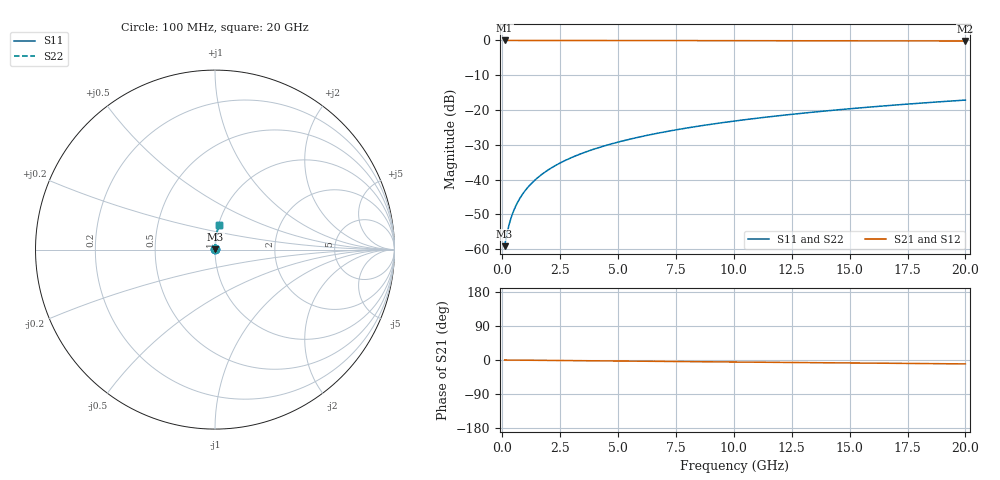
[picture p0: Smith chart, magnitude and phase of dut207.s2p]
! Touchstone file exported from HFSS 2024.1.0
!  File:  C:/UserFiles/LocalFiles/RDL_TSV_Batchsim/temp_RDL_top_207_1778687212.aedt
!  Generated:  11:49:06 PM May 13, 2026
!  Design:  RDL_top
!  Project:  temp_RDL_top_207_1778687212
!  Setup:  Setup1
!  Solution:  Sweep
! Variables:
!  dtsv = 10.80580581um
!  hbump = 3um
!  htsv = 96.49um
!  ldown = 100um
!  lrdl = 105.42um
!  p = 40
!  p1 = 42.33um
!  rhole = 1um
!  t = 450um
!  tdown = 3.915915916um
!  trdl = 4.96um
!  wdown = 15.38538539um
!  wrdl = 10.29um
# GHz S MA R 50.000000
! Terminal data exported
! Port[1] = Box2_T1
! Port[2] = Box2_T2
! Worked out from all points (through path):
!   200 points, 100 MHz to 20 GHz, reference 50 ohm
!   highest |S21| = -0.01 dB at 100 MHz (marker M1); lowest = -0.2 dB at 20 GHz (marker M2)
!   group delay of S21, straight-line fit = 1.42 ps
!   lowest |S11| = -59.2 dB at 100 MHz (marker M3), VSWR 1.00, Z = 50.1 + j0.0714 ohm
!   |S11| at or under -10 dB: start of sweep to end of sweep
!   |S22| runs from -59.2 to -17.2 dB; largest |S21 - S12| = 5.2e-15
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0.1  0.001101 40.3  0.9992 -0.1  0.9992 -0.1  0.001101 40.3
! Gamma 0 0 0 0
! Port Impedance 50 0 50 0
0.2  0.001656 59.0  0.9991 -0.1  0.9991 -0.1  0.001656 59.0
0.3  0.002291 67.7  0.9991 -0.2  0.9991 -0.2  0.002291 67.7
0.4  0.002949 72.5  0.9991 -0.2  0.9991 -0.2  0.002949 72.5
0.5  0.003618 75.5  0.9991 -0.3  0.9991 -0.3  0.003618 75.5
0.6  0.004291 77.6  0.9991 -0.3  0.9991 -0.3  0.004291 77.6
0.8  0.005646 80.3  0.999 -0.4  0.999 -0.4  0.005646 80.3
1.1  0.007692 82.6  0.999 -0.6  0.999 -0.6  0.007692 82.6
1.5  0.01043 84.2  0.9989 -0.8  0.9989 -0.8  0.01043 84.2
1.8  0.01249 84.9  0.9988 -1.0  0.9988 -1.0  0.01249 84.9
2.1  0.01456 85.4  0.9986 -1.2  0.9986 -1.2  0.01456 85.4
2.7  0.01869 85.9  0.9984 -1.5  0.9984 -1.5  0.01869 85.9
3.5  0.02419 86.3  0.998 -1.9  0.998 -1.9  0.02419 86.3
4.2  0.02901 86.3  0.9975 -2.3  0.9975 -2.3  0.02901 86.3
5  0.03452 86.3  0.9969 -2.7  0.9969 -2.7  0.03452 86.3
5.9  0.04073 86.2  0.9962 -3.2  0.9962 -3.2  0.04073 86.2
6.8  0.04695 86.0  0.9955 -3.7  0.9955 -3.7  0.04695 86.0
8.3  0.05734 85.6  0.9941 -4.4  0.9941 -4.4  0.05734 85.6
10.1  0.06987 85.0  0.9924 -5.4  0.9924 -5.4  0.06987 85.0
13.4  0.09292 83.7  0.989 -7.0  0.989 -7.0  0.09292 83.7
16.7  0.116 82.2  0.9853 -8.7  0.9853 -8.7  0.116 82.2
20  0.1388 80.6  0.9813 -10.3  0.9813 -10.3  0.1388 80.6
